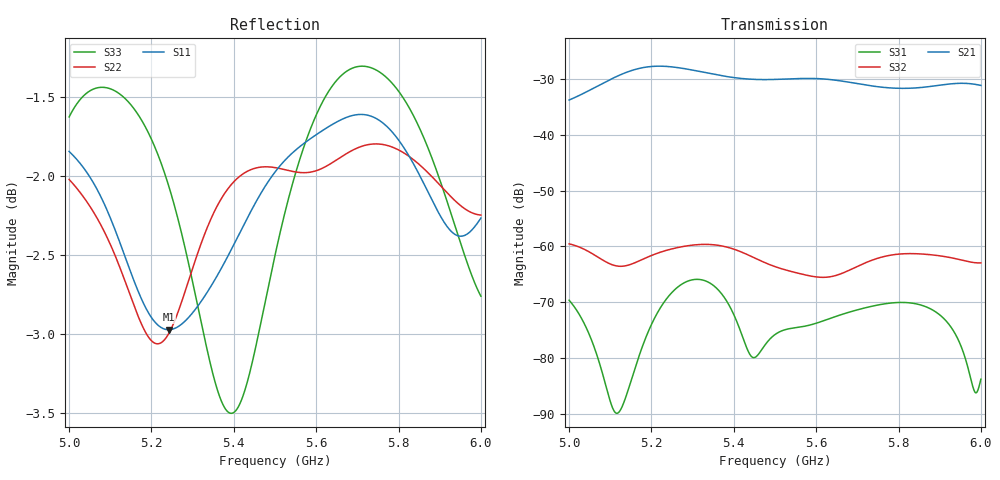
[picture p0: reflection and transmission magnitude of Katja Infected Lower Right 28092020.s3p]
! TOUCHSTONE file generated by CST MICROWAVE STUDIO
! Date and time: Mon Sep 28 14:12:46 2020
! Project name: Katja Lung Lower Right.cst
! Header version: 2018
! Port assignment regex: !\s*Touchstone port\s*([0-9]+)\s*=\s*(CST MWS port|CST DS port)\s*([0-9]+|Zmin|Zmax)\s*\(\"(.*)\"\)(\s*mode\s*([0-9]+))?.*
! Touchstone port assignment:
! Touchstone port 1 = CST MWS port 1 ("")
! Touchstone port 2 = CST MWS port 2 ("")
! Touchstone port 3 = CST MWS port 3 ("")
# GHz S RI R 50
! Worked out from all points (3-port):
!   1001 points, 5 GHz to 6 GHz, reference 50 ohm
!   strongest paths, dB at 5 GHz, 5.25 GHz, 5.5 GHz, 5.75 GHz, 6 GHz:
!     S21: -33.7, -27.8, -30.1, -31.4, -31.1
!     S32: -59.5, -60.4, -63.6, -62.1, -62.9
!     S31: -69.6, -68.2, -75.8, -70.5, -83.8
!   lowest |S11| = -3.0 dB at 5.242 GHz (marker M1), VSWR 5.90, Z = 295 - j4.68 ohm
!   |S11| at or under -10 dB: nowhere
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5  0.8064 -0.0581  0.0173 -0.0111  0.000236 -0.000234
   0.0173 -0.0111  0.7899 -0.0599  0.00103 -5.46e-06
   0.000231 -0.000234  0.00105 -6.69e-07  0.8281 0.0396
5.072  0.7816 -0.0682  0.012 -0.025  -4.84e-05 -8.02e-05
       0.012 -0.025  0.766 -0.0615  0.000356 -0.000725
       -4.68e-05 -8.18e-05  0.000342 -0.000717  0.847 -0.00199
5.163  0.7308 -0.0531  -0.0206 -0.0329  5.73e-05 -6.55e-05
       -0.0206 -0.0329  0.7185 -0.0393  -0.000317 -0.000639
       5.82e-05 -6.54e-05  -0.000323 -0.000646  0.8305 -0.0513
5.242  0.71 -0.00393  -0.0409 -0.000897  -0.000229 -0.000277
       -0.0409 -0.000894  0.7076 0.0263  -0.000942 3.57e-05
       -0.000229 -0.000277  -0.000935 3.31e-05  0.7842 -0.0799
5.348  0.7325 0.0497  -0.015 0.0317  0.000132 0.000435
       -0.015 0.0317  0.769 0.0623  0.000275 0.000999
       0.000131 0.000435  0.00028 0.000999  0.6871 -0.0436
5.446  0.7729 0.0696  0.0133 0.0285  0.000101 -7.28e-06
       0.0133 0.0285  0.7971 0.043  0.000749 -0.000283
       0.000101 -7.72e-06  0.000752 -0.00028  0.6902 0.0767
5.5  0.7937 0.0662  0.0248 0.0193  0.000157 -4.19e-05
     0.0248 0.0193  0.7983 0.0337  0.000303 -0.000585
     0.000157 -4.15e-05  0.0003 -0.000587  0.7415 0.1099
5.626  0.8213 0.0448  0.0265 -0.0171  -8.55e-05 -0.000204
       0.0265 -0.0171  0.7992 0.035  -0.00044 -0.000291
       -8.49e-05 -0.000204  -0.000443 -0.000292  0.8387 0.0839
5.828  0.8047 -0.0117  -0.0189 -0.0181  0.000184 0.000251
       -0.0189 -0.0181  0.8051 0.00771  0.000614 0.000607
       0.000185 0.000251  0.000618 0.000602  0.8333 -0.025
6  0.7689 0.0435  -0.0144 0.0237  1.45e-05 6.53e-05
   -0.0145 0.0237  0.7714 0.0265  -0.000211 -0.000703
   1.29e-05 6.33e-05  -0.00023 -0.000674  0.7276 8.81e-05
